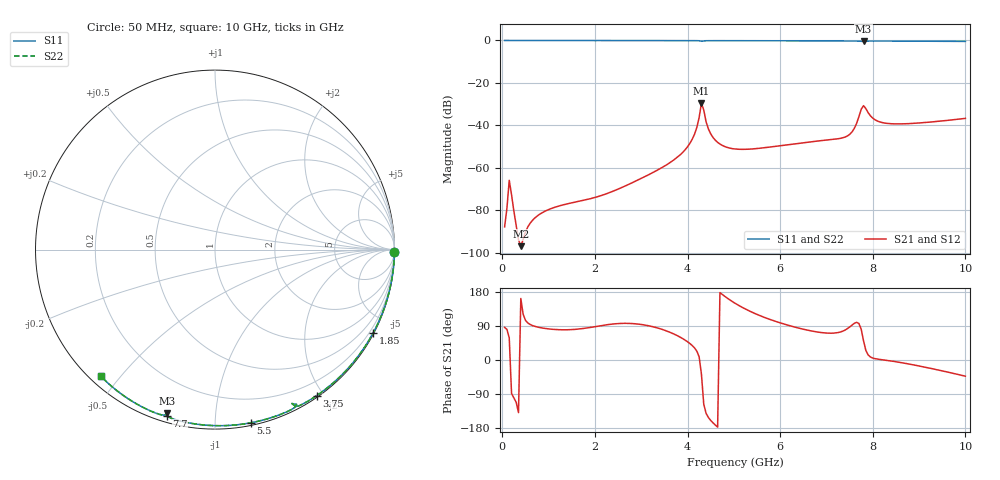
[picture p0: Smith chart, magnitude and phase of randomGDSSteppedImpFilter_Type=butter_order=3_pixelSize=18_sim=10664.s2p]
! freq	dB(S11)	phase(S11)	dB(S12)	phase(S12)
!  dB(S21)	phase(S21)	dB(S22)	phase(S22)
!S-par simulation data
#  GHz  S  DB  R 50
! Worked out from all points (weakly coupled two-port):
!   200 points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, 50 MHz to 10 GHz, reference 50 ohm
!   highest |S21| = -29.56 dB at 4.3 GHz (marker M1); lowest = -96.9 dB at 400 MHz (marker M2)
!   lowest |S11| = -0.5 dB at 7.8 GHz (marker M3), VSWR 38.37, Z = 2.03 - j37.4 ohm
!   |S11| at or under -10 dB: nowhere
!   |S22| runs from -0.5 to 0.0 dB; largest |S21 - S12| = 0
!   S11 on the Smith chart (normalised r, x): 50 MHz: open; 1.85 GHz: 0.04, -4.03; 3.75 GHz: 0.02, -1.91; 5.5 GHz: 0.02, -1.23; 7.7 GHz: 0.03, -0.75; 10 GHz: 0.03, -0.44
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0.05  -0.00 -0.8  -87.84 86.1  -87.84 86.1  -0.00 -0.8
0.1  -0.00 -1.5  -79.08 80.7  -79.08 80.7  -0.00 -1.5
0.15  -0.00 -2.3  -65.89 58.5  -65.89 58.5  -0.00 -2.3
0.25  -0.00 -3.8  -80.42 -99.9  -80.42 -99.9  -0.00 -3.8
0.4  -0.00 -6.1  -96.94 162.3  -96.94 162.3  -0.00 -6.1
1.75  -0.03 -26.4  -75.36 83.2  -75.36 83.2  -0.03 -26.4
1.85  -0.04 -27.8  -74.85 84.9  -74.85 84.9  -0.04 -27.8
3.4  -0.07 -50.2  -60.49 82.8  -60.49 82.8  -0.07 -50.2
3.75  -0.08 -55.2  -55.51 66.0  -55.51 66.0  -0.08 -55.1
4.1  -0.09 -60.2  -46.61 38.3  -46.61 38.3  -0.09 -60.2
4.2  -0.10 -61.8  -41.05 23.5  -41.05 23.5  -0.10 -61.8
4.3  -0.37 -63.5  -29.56 -37.0  -29.56 -37.0  -0.37 -63.5
4.55  -0.10 -65.7  -45.70 -165.9  -45.70 -165.9  -0.10 -65.7
5.05  -0.11 -72.5  -51.19 148.0  -51.19 148.0  -0.11 -72.5
5.5  -0.13 -78.4  -50.93 120.3  -50.93 120.3  -0.13 -78.4
6.7  -0.18 -93.6  -47.66 76.1  -47.66 76.1  -0.18 -93.6
7.45  -0.24 -102.8  -45.02 82.6  -45.02 82.6  -0.24 -102.8
7.7  -0.33 -106.2  -35.98 96.4  -35.98 96.4  -0.33 -106.2
7.8  -0.45 -106.4  -30.72 50.9  -30.72 50.9  -0.45 -106.4
8.05  -0.28 -109.3  -37.40 3.5  -37.40 3.5  -0.28 -109.3
8.35  -0.29 -113.0  -39.17 -1.8  -39.17 -1.8  -0.29 -113.0
10  -0.45 -132.1  -36.72 -42.7  -36.72 -42.7  -0.45 -132.1
